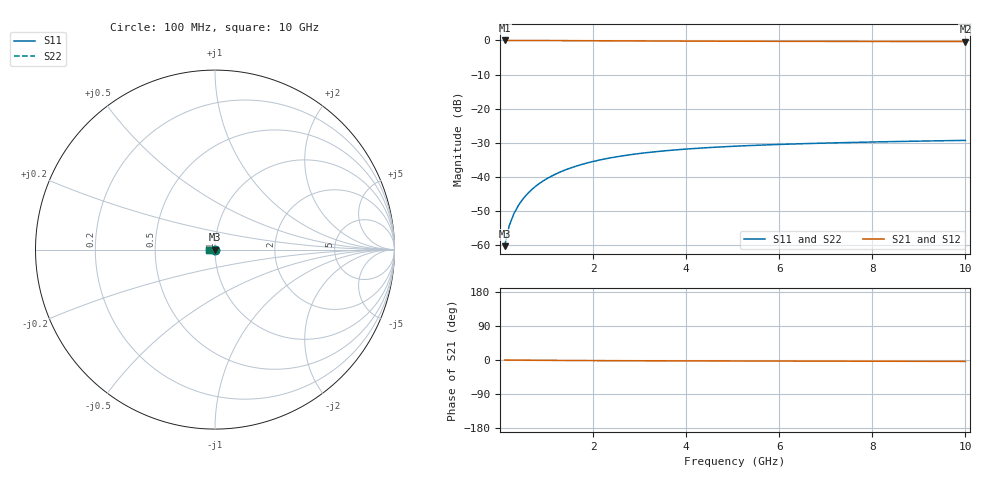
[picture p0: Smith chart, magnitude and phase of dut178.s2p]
! Touchstone file exported from HFSS 2024.1.0
!  File:  C:/UserFiles/LocalFiles/RDL_TSV_Batchsim/temp_TSV1_178_1778756157.aedt
!  Generated:  07:03:24 PM May 14, 2026
!  Design:  TSV1
!  Project:  temp_TSV1_178_1778756157
!  Setup:  Setup1
!  Solution:  Sweep
! Variables:
!  dtsv = 12.16um
!  hbump = 3um
!  htsv = 53.92um
!  lrdl = 252.1521522um
!  p = 40
!  p1 = 52.88um
!  t = 500um
!  trdl = 3um
!  wrdl = 24.89489489um
# GHz S MA R 50.000000
! Terminal data exported
! Port[1] = TSV22_T1
! Port[2] = TSV22_T2
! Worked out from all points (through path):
!   100 points, 100 MHz to 10 GHz, reference 50 ohm
!   highest |S21| = 0.00 dB at 100 MHz (marker M1); lowest = -0.3 dB at 10 GHz (marker M2)
!   lowest |S11| = -60.2 dB at 100 MHz (marker M3), VSWR 1.00, Z = 50 - j0.0974 ohm
!   |S11| at or under -10 dB: start of sweep to end of sweep
!   |S22| runs from -60.2 to -29.3 dB; largest |S21 - S12| = 5.4e-15
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0.1  0.0009746 -87.3  0.9999 -0.1  0.9999 -0.1  0.0009746 -87.3
! Gamma 0 0 0 0
! Port Impedance 50 0 50 0
0.2  0.001945 -91.3  0.9998 -0.2  0.9998 -0.2  0.001945 -91.3
0.3  0.002916 -93.8  0.9996 -0.3  0.9996 -0.3  0.002916 -93.8
0.4  0.003882 -96.0  0.9994 -0.4  0.9994 -0.4  0.003882 -96.0
0.5  0.00484 -98.1  0.9991 -0.5  0.9991 -0.5  0.00484 -98.1
0.6  0.005786 -100.1  0.9987 -0.6  0.9987 -0.6  0.005786 -100.1
0.7  0.006719 -102.0  0.9983 -0.6  0.9983 -0.6  0.006719 -102.0
0.8  0.007634 -103.9  0.9979 -0.7  0.9979 -0.7  0.007634 -103.9
0.9  0.008532 -105.8  0.9974 -0.8  0.9974 -0.8  0.008532 -105.8
1.1  0.01027 -109.3  0.9963 -1.0  0.9963 -1.0  0.01027 -109.3
1.4  0.0127 -114.4  0.9945 -1.2  0.9945 -1.2  0.0127 -114.4
1.6  0.0142 -117.6  0.9931 -1.3  0.9931 -1.3  0.0142 -117.6
1.8  0.0156 -120.7  0.9918 -1.4  0.9918 -1.4  0.0156 -120.7
2.1  0.01753 -125.0  0.9897 -1.6  0.9897 -1.6  0.01753 -125.0
2.5  0.01978 -130.3  0.9869 -1.8  0.9869 -1.8  0.01978 -130.3
2.9  0.02171 -135.1  0.9844 -2.0  0.9844 -2.0  0.02171 -135.1
3.4  0.02373 -140.4  0.9814 -2.1  0.9814 -2.1  0.02373 -140.4
4.2  0.02627 -147.7  0.9775 -2.4  0.9775 -2.4  0.02627 -147.7
5.1  0.02841 -154.6  0.9739 -2.6  0.9739 -2.6  0.02841 -154.6
6.7  0.03107 -164.3  0.9695 -2.9  0.9695 -2.9  0.03107 -164.3
8.4  0.03303 -172.4  0.9664 -3.3  0.9664 -3.3  0.03303 -172.4
10  0.03446 -178.8  0.9644 -3.7  0.9644 -3.7  0.03446 -178.8
